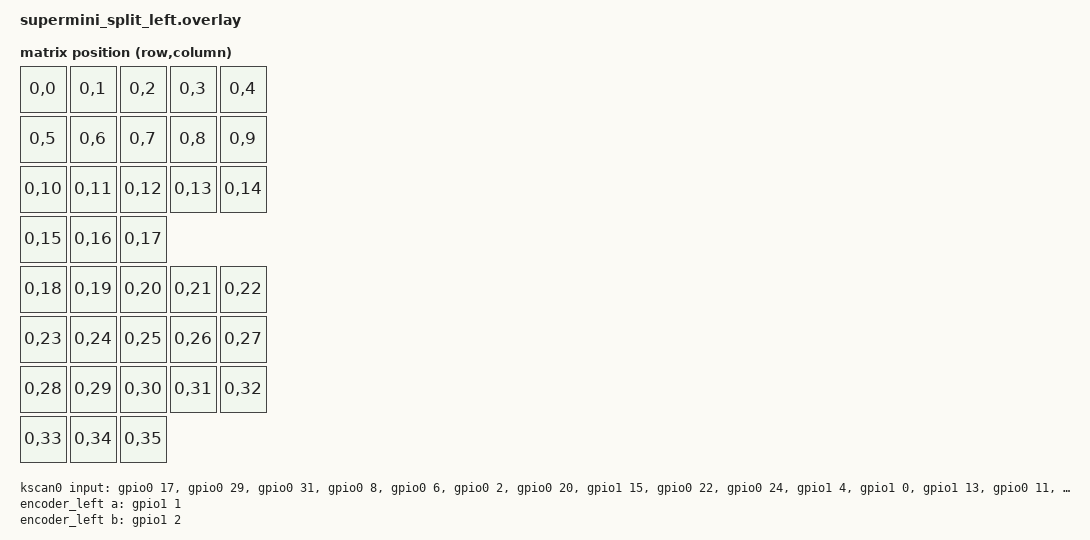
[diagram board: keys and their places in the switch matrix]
/*
 * Left half overlay — Super mini nrf52840
 *
 * Pin assignment (D-label → nRF52840 pin → ZMK GPIO, nice!nano pinout):
 *
 *   Key  0  P0.17  D2   — top row, col 0  (Q)
 *   Key  1  P0.29  D20  — top row, col 1  (W)
 *   Key  2  P0.31  D21  — top row, col 2  (E)
 *   Key  3  P0.08  D0   — top row, col 3  (R)
 *   Key  4  P0.06  D1   — top row, col 4  (T)
 *   Key  5  P0.02  D19  — mid row, col 0  (A)
 *   Key  6  P0.20  D3   — mid row, col 1  (S)
 *   Key  7  P1.15  D18  — mid row, col 2  (D)
 *   Key  8  P0.22  D4   — mid row, col 3  (F)
 *   Key  9  P0.24  D5   — mid row, col 4  (G)
 *   Key 10  P1.04  D8   — bot row, col 0  (Z/Y)
 *   Key 11  P1.00  D6   — bot row, col 1  (X)
 *   Key 12  P1.13  D15  — bot row, col 2  (C)
 *   Key 13  P0.11  D7   — bot row, col 3  (V)
 *   Key 14  P1.06  D9   — bot row, col 4  (B)
 *   Key 15  P1.11  D14  — left thumb out  (encoder push / layer)
 *   Key 16  P0.09  D10  — left thumb mid  (ESC / layer)
 *   Key 17  P1.10  D16  — left thumb in   (TAB / layer)
 *
 *   Encoder (rotary, centre bottom pads):
 *     A   P1.01
 *     B   P1.02
 *
 *   9 special-function switches:
 *     BT / USB — wired in parallel to T (P0.31) + partner key:
 *     BT0     → T (P0.06) + A (P0.02)   → combo T+A fires bt_sel_0
 *     BT1     → T (P0.06) + S (P0.20)   → combo T+S fires bt_sel_1
 *     BT2     → T (P0.06) + D (P1.15)   → combo T+D fires bt_sel_2
 *     USB_OUT → T (P0.06) + F (P0.22)   → combo T+F fires usb_on
 *     5-way nav — wired in parallel to Q (P0.11) + partner key:
 *     Nav Up  → Q (P0.17) + Z (P1.04)   → combo Q+Z fires &kp UP
 *     Nav Dn  → Q (P0.17) + X (P1.00)   → combo Q+X fires &kp DOWN
 *     Nav Lt  → Q (P0.17) + C (P1.13)   → combo Q+C fires &kp LEFT
 *     Nav Rt  → Q (P0.17) + V (P0.11)   → combo Q+V fires &kp RIGHT
 *     Nav OK  → Q (P0.17) + B (P1.06)   → combo Q+B fires &kp RET
 *
 * Key-position map (used in keymap / combos):
 *   Left  keys : 0–17   (18 direct, this half)
 *   Right keys : 18–35  (sent by peripheral, offset +18)
 */

#include <dt-bindings/zmk/matrix_transform.h>

/ {
    chosen {
        zmk,kscan = &kscan0;
        zmk,matrix-transform = &default_transform;
    };

    /* 18 direct keys — each switch: GPIO pin → GND */
    kscan0: kscan_direct {
        compatible = "zmk,kscan-gpio-direct";
        wakeup-source;
        input-gpios
            = <&gpio0 17 (GPIO_ACTIVE_LOW | GPIO_PULL_UP)>   /* key  0  P0.17  Q */
            , <&gpio0 29 (GPIO_ACTIVE_LOW | GPIO_PULL_UP)>   /* key  1  P0.29  W */
            , <&gpio0 31 (GPIO_ACTIVE_LOW | GPIO_PULL_UP)>   /* key  2  P0.31  E */
            , <&gpio0  8 (GPIO_ACTIVE_LOW | GPIO_PULL_UP)>   /* key  3  P0.08  R */
            , <&gpio0  6 (GPIO_ACTIVE_LOW | GPIO_PULL_UP)>   /* key  4  P0.06  T */
            , <&gpio0  2 (GPIO_ACTIVE_LOW | GPIO_PULL_UP)>   /* key  5  P0.02  A */
            , <&gpio0 20 (GPIO_ACTIVE_LOW | GPIO_PULL_UP)>   /* key  6  P0.20  S */
            , <&gpio1 15 (GPIO_ACTIVE_LOW | GPIO_PULL_UP)>   /* key  7  P1.15  D */
            , <&gpio0 22 (GPIO_ACTIVE_LOW | GPIO_PULL_UP)>   /* key  8  P0.22  F */
            , <&gpio0 24 (GPIO_ACTIVE_LOW | GPIO_PULL_UP)>   /* key  9  P0.24  G */
            , <&gpio1  4 (GPIO_ACTIVE_LOW | GPIO_PULL_UP)>   /* key 10  P1.04  Z */
            , <&gpio1  0 (GPIO_ACTIVE_LOW | GPIO_PULL_UP)>   /* key 11  P1.00  X */
            , <&gpio1 13 (GPIO_ACTIVE_LOW | GPIO_PULL_UP)>   /* key 12  P1.13  C */
            , <&gpio0 11 (GPIO_ACTIVE_LOW | GPIO_PULL_UP)>   /* key 13  P0.11  V */
            , <&gpio1  6 (GPIO_ACTIVE_LOW | GPIO_PULL_UP)>   /* key 14  P1.06  B */
            , <&gpio1 11 (GPIO_ACTIVE_LOW | GPIO_PULL_UP)>   /* key 15  P1.11  thumb out */
            , <&gpio0  9 (GPIO_ACTIVE_LOW | GPIO_PULL_UP)>   /* key 16  P0.09  thumb mid */
            , <&gpio0 10 (GPIO_ACTIVE_LOW | GPIO_PULL_UP)>   /* key 17  P0.10  thumb in  */
            ;
    };

    /* rotary encoder (A = P1.01, B = P1.02 — centre bottom pads) */
    encoder_left: encoder_left {
        compatible = "alps,ec11";
        a-gpios = <&gpio1  1 (GPIO_ACTIVE_HIGH | GPIO_PULL_UP)>;
        b-gpios = <&gpio1  2 (GPIO_ACTIVE_HIGH | GPIO_PULL_UP)>;
        steps = <80>;
        status = "okay";
    };

    sensors: sensors {
        compatible = "zmk,keymap-sensors";
        sensors = <&encoder_left>;
        triggers-per-rotation = <20>;
    };

    /*
     * Matrix transform: 1 row × 18 cols, 18 central entries.
     *   Pos  0– 4 : left top    RC(0,0)–RC(0,4)
     *   Pos  5– 9 : left mid    RC(0,5)–RC(0,9)
     *   Pos 10–14 : left bot    RC(0,10)–RC(0,14)
     *   Pos 15–17 : left thumbs RC(0,15)–RC(0,17)
     * Peripheral offset = 18  →  right keys at pos 18–35.
     */
    default_transform: keymap_transform_0 {
        compatible = "zmk,matrix-transform";
        columns = <36>;
        rows = <1>;
        map = <
            /* Linke Hälfte (0-17) */
            RC(0,0)  RC(0,1)  RC(0,2)  RC(0,3)  RC(0,4)
            RC(0,5)  RC(0,6)  RC(0,7)  RC(0,8)  RC(0,9)
            RC(0,10) RC(0,11) RC(0,12) RC(0,13) RC(0,14)
            RC(0,15) RC(0,16) RC(0,17)

            /* Rechte Hälfte (18-35) */
            RC(0,18) RC(0,19) RC(0,20) RC(0,21) RC(0,22)
            RC(0,23) RC(0,24) RC(0,25) RC(0,26) RC(0,27)
            RC(0,28) RC(0,29) RC(0,30) RC(0,31) RC(0,32)
            RC(0,33) RC(0,34) RC(0,35)
        >;
    };
};

/*
 * Disable the onboard blue LED (P0.15) so no subsystem can blink it.
 * The gpio-hog keeps the pin driven low (LED off) from early GPIO init.
 */
/ {
    leds { status = "disabled"; };
};

&gpio0 {
    led_off: led-off {
        gpio-hog;
        gpios = <15 0>;
        output-low;
    };
};
